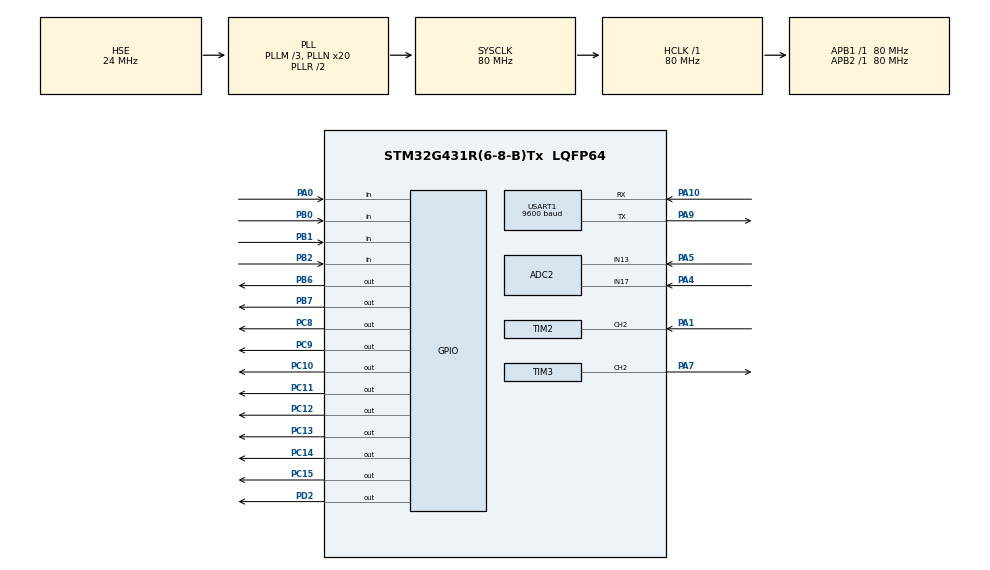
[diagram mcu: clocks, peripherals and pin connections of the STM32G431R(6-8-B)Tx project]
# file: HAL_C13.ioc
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ADC2.Channel-1\#ChannelRegularConversion=ADC_CHANNEL_17
ADC2.NbrOfConversionFlag=1
ADC2.OffsetNumber-1\#ChannelRegularConversion=ADC_OFFSET_NONE
ADC2.Rank-1\#ChannelRegularConversion=1
ADC2.SamplingTime-1\#ChannelRegularConversion=ADC_SAMPLETIME_640CYCLES_5
Dma.Request0=USART1_RX
Dma.Request1=USART1_TX
Dma.USART1_RX.0.Direction=DMA_PERIPH_TO_MEMORY
Dma.USART1_RX.0.EventEnable=DISABLE
Dma.USART1_RX.0.Instance=DMA1_Channel1
Dma.USART1_RX.0.MemDataAlignment=DMA_MDATAALIGN_BYTE
Dma.USART1_RX.0.MemInc=DMA_MINC_ENABLE
Dma.USART1_RX.0.Mode=DMA_NORMAL
Dma.USART1_RX.0.PeriphDataAlignment=DMA_PDATAALIGN_BYTE
Dma.USART1_RX.0.PeriphInc=DMA_PINC_DISABLE
Dma.USART1_RX.0.Polarity=HAL_DMAMUX_REQ_GEN_RISING
Dma.USART1_RX.0.Priority=DMA_PRIORITY_LOW
Dma.USART1_RX.0.RequestNumber=1
Dma.USART1_RX.0.SignalID=NONE
Dma.USART1_RX.0.SyncEnable=DISABLE
Dma.USART1_RX.0.SyncPolarity=HAL_DMAMUX_SYNC_NO_EVENT
Dma.USART1_RX.0.SyncRequestNumber=1
Dma.USART1_RX.0.SyncSignalID=NONE
Dma.USART1_TX.1.Direction=DMA_MEMORY_TO_PERIPH
Dma.USART1_TX.1.EventEnable=DISABLE
Dma.USART1_TX.1.Instance=DMA1_Channel2
Dma.USART1_TX.1.MemDataAlignment=DMA_MDATAALIGN_BYTE
Dma.USART1_TX.1.MemInc=DMA_MINC_ENABLE
Dma.USART1_TX.1.Mode=DMA_NORMAL
Dma.USART1_TX.1.PeriphDataAlignment=DMA_PDATAALIGN_BYTE
Dma.USART1_TX.1.PeriphInc=DMA_PINC_DISABLE
Dma.USART1_TX.1.Polarity=HAL_DMAMUX_REQ_GEN_RISING
Dma.USART1_TX.1.Priority=DMA_PRIORITY_LOW
Dma.USART1_TX.1.RequestNumber=1
Dma.USART1_TX.1.SignalID=NONE
Dma.USART1_TX.1.SyncEnable=DISABLE
Dma.USART1_TX.1.SyncPolarity=HAL_DMAMUX_SYNC_NO_EVENT
Dma.USART1_TX.1.SyncRequestNumber=1
Dma.USART1_TX.1.SyncSignalID=NONE
Mcu.Family=STM32G4
Mcu.Name=STM32G431R(6-8-B)Tx
Mcu.Package=LQFP64
NVIC.DMA1_Channel1_IRQn=true\:0\:0\:false\:false\:true\:false\:true
NVIC.DMA1_Channel2_IRQn=true\:0\:0\:false\:false\:true\:false\:true
NVIC.PriorityGroup=NVIC_PRIORITYGROUP_4
NVIC.TIM2_IRQn=true\:0\:0\:false\:false\:true\:true\:true
NVIC.USART1_IRQn=true\:0\:0\:false\:false\:true\:true\:true
PA0.Signal=GPIO_Input
PA1.Signal=S_TIM2_CH2
PA10.Mode=Asynchronous
PA10.Signal=USART1_RX
PA4.Mode=IN17-Single-Ended
PA4.Signal=ADC2_IN17
PA5.Mode=IN13-Single-Ended
PA5.Signal=ADC2_IN13
PA7.Signal=S_TIM3_CH2
PA9.Mode=Asynchronous
PA9.Signal=USART1_TX
PB0.Signal=GPIO_Input
PB1.Signal=GPIO_Input
PB2.Signal=GPIO_Input
PB6.Signal=GPIO_Output
PB7.Signal=GPIO_Output
PC10.PinState=GPIO_PIN_SET
PC10.Signal=GPIO_Output
PC11.PinState=GPIO_PIN_SET
PC11.Signal=GPIO_Output
PC12.PinState=GPIO_PIN_SET
PC12.Signal=GPIO_Output
PC13.PinState=GPIO_PIN_SET
PC13.Signal=GPIO_Output
PC14-OSC32_IN.PinState=GPIO_PIN_SET
PC14-OSC32_IN.Signal=GPIO_Output
PC15-OSC32_OUT.PinState=GPIO_PIN_SET
PC15-OSC32_OUT.Signal=GPIO_Output
PC8.PinState=GPIO_PIN_SET
PC8.Signal=GPIO_Output
PC9.PinState=GPIO_PIN_SET
PC9.Signal=GPIO_Output
PD2.PinState=GPIO_PIN_RESET
PD2.Signal=GPIO_Output
PF0-OSC_IN.Mode=HSE-External-Oscillator
PF0-OSC_IN.Signal=RCC_OSC_IN
PF1-OSC_OUT.Mode=HSE-External-Oscillator
PF1-OSC_OUT.Signal=RCC_OSC_OUT
ProjectManager.HeapSize=0x200
ProjectManager.StackSize=0x400
ProjectManager.TargetToolchain=MDK-ARM V5.27
RCC.ADC12Freq_Value=80000000
RCC.AHBFreq_Value=80000000
RCC.APB1Freq_Value=80000000
RCC.APB1TimFreq_Value=80000000
RCC.APB2Freq_Value=80000000
RCC.APB2TimFreq_Value=80000000
RCC.CortexFreq_Value=80000000
RCC.EXTERNAL_CLOCK_VALUE=12288000
RCC.HCLKFreq_Value=80000000
RCC.HSE_VALUE=24000000
RCC.HSI48_VALUE=48000000
RCC.HSI_VALUE=16000000
RCC.LSE_VALUE=32768
RCC.PLLM=RCC_PLLM_DIV3
RCC.PLLN=20
RCC.PLLSourceVirtual=RCC_PLLSOURCE_HSE
RCC.SYSCLKFreq_VALUE=80000000
RCC.SYSCLKSource=RCC_SYSCLKSOURCE_PLLCLK
RCC.USBFreq_Value=80000000
RCC.VCOOutputFreq_Value=160000000
SH.S_TIM2_CH2.0=TIM2_CH2,Input_Capture2_from_TI2
SH.S_TIM3_CH2.0=TIM3_CH2,PWM Generation2 CH2
TIM2.AutoReloadPreload=TIM_AUTORELOAD_PRELOAD_ENABLE
TIM2.Channel-Input_Capture2_from_TI2=TIM_CHANNEL_2
TIM2.PeriodNoDither=65535
TIM2.Prescaler=79
TIM3.AutoReloadPreload=TIM_AUTORELOAD_PRELOAD_ENABLE
TIM3.Channel-PWM\ Generation2\ CH2=TIM_CHANNEL_2
TIM3.PeriodNoDither=999
TIM3.Prescaler=79
TIM3.PulseNoDither_2=500
USART1.BaudRate=9600
USART1.VirtualMode-Asynchronous=VM_ASYNC
VP_SYS_VS_DBSignals.Mode=DisableDeadBatterySignals
VP_TIM2_VS_ClockSourceINT.Mode=Internal
VP_TIM3_VS_ClockSourceINT.Mode=Internal
board=custom

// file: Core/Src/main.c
/* USER CODE BEGIN Header */
/**
  ******************************************************************************
  * @file           : main.c
  * @brief          : Main program body
  ******************************************************************************
  * @attention
  *
  * <h2><center>&copy; Copyright (c) 2024 STMicroelectronics.
  * All rights reserved.</center></h2>
  *
  * This software component is licensed by ST under BSD 3-Clause license,
  * the "License"; You may not use this file except in compliance with the
  * License. You may obtain a copy of the License at:
  *                        opensource.org/licenses/BSD-3-Clause
  *
  ******************************************************************************
  */
/* USER CODE END Header */
#include "main.h"
#include "adc.h"
#include "dma.h"
#include "tim.h"
#include "usart.h"
#include "gpio.h"

/* USER CODE BEGIN Includes */
#include "i2c_hal.h"
#include "led.h"
#include "lcd.h"
#include "stdio.h"
#include <string.h>
/* USER CODE END Includes */

/* USER CODE BEGIN PTD */
typedef enum
{
	Key_Check,
	Key_Press,
	Key_Release,
	Key_Over
}Key_State;
/* USER CODE END PTD */

/* USER CODE BEGIN PD */
#define K1 HAL_GPIO_ReadPin(GPIOB, GPIO_PIN_0)
#define K2 HAL_GPIO_ReadPin(GPIOB, GPIO_PIN_1)
#define K3 HAL_GPIO_ReadPin(GPIOB, GPIO_PIN_2)
#define K4 HAL_GPIO_ReadPin(GPIOA, GPIO_PIN_0)

#define Press GPIO_PIN_RESET
#define Release GPIO_PIN_SET
/* USER CODE END PD */

/* USER CODE BEGIN PV */
uint8_t KeyNum, RX[20], Str[20], RecCount, ShowSelect, X, Y, Flag_ADC_UPDATE, Mode_Multiply_Split, Show_PA4_PA5;
uint32_t Key_Press_Time = 20, Freq_Value, Freq, Period;
Key_State KeyState = Key_Check;
float Vol_PA5, Vol_PA4, A_4, A_5, T_4, T_5, H_4, H_5, N_VOL_4[100], sum_4, sum_5;
float N_VOL_5[100];
extern DMA_HandleTypeDef hdma_usart1_rx;
uint8_t N_4, N_5, Flag_LED_3;
/* USER CODE END PV */

void SystemClock_Config(void);
/* USER CODE BEGIN PFP */
void Key_Scan(void);
void getADC_PA45(void);
void LCD_Show(void);
/* USER CODE END PFP */

/* USER CODE BEGIN 0 */
void HAL_UART_IdleCpltCallback(UART_HandleTypeDef *huart)
{
	RecCount = 10 - __HAL_DMA_GET_COUNTER(&hdma_usart1_rx);
	if(RX[0] == 'X')
	{
		sprintf((char *)Str, "X:%d\r\n", X);
		HAL_UART_Transmit_DMA(&huart1, Str, strlen((char *)Str));
	}
	else if(RX[0] == 'Y')
	{
		sprintf((char *)Str, "Y:%d\r\n", Y);
		HAL_UART_Transmit_DMA(&huart1, Str, strlen((char *)Str));
	}
	if(RX[0] == 'P' && RX[1] == 'A' && RX[2] == '1')
	{
		sprintf((char *)Str, "PA1:%d\r\n", Freq);
		HAL_UART_Transmit_DMA(&huart1, Str, strlen((char *)Str));
	}
	else if(RX[0] == 'P' && RX[1] == 'A' && RX[2] == '4')
	{
		sprintf((char *)Str, "PA4:%.2f\r\n", Vol_PA4);
		HAL_UART_Transmit_DMA(&huart1, Str, strlen((char *)Str));
	}
	else if(RX[0] == 'P' && RX[1] == 'A' && RX[2] == '5')
	{
		sprintf((char *)Str, "PA5:%.2f\r\n", Vol_PA5);
		HAL_UART_Transmit_DMA(&huart1, Str, strlen((char *)Str));
	}
	RecCount = 0;
	HAL_UART_Receive_DMA(&huart1, RX, 10);
}

void HAL_TIM_IC_CaptureCallback(TIM_HandleTypeDef *htim)
{
	Freq_Value = __HAL_TIM_GET_COUNTER(&htim2);
	__HAL_TIM_SetCounter(&htim2, 0);
	Freq = 1000000 / Freq_Value;
	HAL_TIM_IC_Start_IT(&htim2, TIM_CHANNEL_2);
}
/* USER CODE END 0 */

int main(void)
{

  /* MCU Configuration--------------------------------------------------------*/

  /* Reset of all peripherals, Initializes the Flash interface and the Systick. */
  HAL_Init();

  /* Configure the system clock */
  SystemClock_Config();

  /* Initialize all configured peripherals */
  MX_GPIO_Init();
  MX_DMA_Init();
  MX_TIM2_Init();
  MX_TIM3_Init();
  MX_USART1_UART_Init();
  MX_ADC2_Init();
  /* USER CODE BEGIN 2 */
  LED_Init();

  LCD_Init();
  LCD_Clear(Black);
  LCD_SetBackColor(Black);
  LCD_SetTextColor(White);

  HAL_UART_Receive_DMA(&huart1, RX, 10);
  __HAL_UART_ENABLE_IT(&huart1, UART_IT_IDLE);

  HAL_TIM_IC_Start_IT(&htim2, TIM_CHANNEL_2);

  HAL_TIM_PWM_Start_IT(&htim3, TIM_CHANNEL_2);

//  x24C02_Write(0x00, 0);
//  x24C02_Write(0x01, 0);
  Y = x24C02_Read(0x00);
  X = x24C02_Read(0x01);
  X = x24C02_Read(0x01);
  /* USER CODE END 2 */

  /* Infinite loop */
  /* USER CODE BEGIN WHILE */
  while (1)
  {
	  if(KeyState == Key_Over)
	  {
		  KeyState = Key_Check;
		  if(KeyNum == 1)
		  {
			  ShowSelect ++;
			  ShowSelect %= 3;
			  if(ShowSelect == 2)
			  {
				  x24C02_Write(0x00, Y);
				  x24C02_Write(0x01, X);
				  x24C02_Write(0x01, X);

				  Show_PA4_PA5 = 0;
			  }
		  }
		  else if(KeyNum == 2)
		  {
			  if(ShowSelect == 1)
			  {
				  X++;
				  if(X == 5)X = 1;
			  }
		  }
		  else if(KeyNum == 3)
		  {
			  if(ShowSelect == 1)
			  {
				  Y++;
				  if(Y == 5)Y = 1;
			  }
		  }
		  else if(KeyNum == 4)
		  {
			  if(ShowSelect == 0)
			  {
				  Flag_ADC_UPDATE = 1;
				  N_4++;
				  N_5++;
			  }
			  else if(ShowSelect == 1)
			  {
				  Mode_Multiply_Split = !Mode_Multiply_Split;
			  }
			  else
			  {
				  if(Key_Press_Time > 1000)
				  {
					  if(Show_PA4_PA5 == 0)
					  {
						  N_4 = 0;A_4 = 0;T_4 = 0;H_4 = 0;
					  }
					  else
					  {
						  N_5 = 0;A_5 = 0;T_5 = 0;H_5 = 0;
					  }
				  }
				  else
				  {
					  Show_PA4_PA5 = !Show_PA4_PA5;
				  }
			  }
		  }
		  Key_Press_Time = 0;
	  }

	  if(Mode_Multiply_Split == 0)Period = Freq_Value / X;
	  else Period = Freq_Value * X;

	  __HAL_TIM_SetAutoreload(&htim3, Period);
	  __HAL_TIM_SetCompare(&htim3, TIM_CHANNEL_2, Period / 2);
//	  __HAL_TIM_SetAutoreload(&htim3, 999);
//	  __HAL_TIM_SetCompare(&htim3, TIM_CHANNEL_2, 999 / 2);

	  if(Flag_ADC_UPDATE == 1)
	  {
		  getADC_PA45();
		  N_VOL_4[N_4 - 1] = Vol_PA4;
		  N_VOL_5[N_5 - 1] = Vol_PA5;

		  if(Vol_PA4 > A_4)A_4 = Vol_PA4;
		  if(Vol_PA5 > A_5)A_5 = Vol_PA5;

		  if(N_4 == 1)T_4 = Vol_PA4;
		  else
		  {
			  if(Vol_PA4 < T_4)T_4 = Vol_PA4;
		  }
		  if(N_5 == 1)T_5 = Vol_PA5;
		  else
		  {
			  if(Vol_PA5 < T_5)T_5 = Vol_PA5;
		  }

		  sum_4 += Vol_PA4;
          sum_5 += Vol_PA5;
          H_4 = sum_4 / N_4;
		  H_5 = sum_5 / N_5;

		  Flag_ADC_UPDATE = 0;
	  }

	  if(Mode_Multiply_Split == 0)LED_ON(1);
	  else LED_OFF(1);
	  if(Mode_Multiply_Split == 1)LED_ON(2);
	  else LED_OFF(2);
	  if(Vol_PA4 > Y * Vol_PA5)Flag_LED_3 = 1;
	  else Flag_LED_3 = 0;

	  LCD_Show();

    /* USER CODE END WHILE */

  }
}

void SystemClock_Config(void)
{
  RCC_OscInitTypeDef RCC_OscInitStruct = {0};
  RCC_ClkInitTypeDef RCC_ClkInitStruct = {0};
  RCC_PeriphCLKInitTypeDef PeriphClkInit = {0};

  /** Configure the main internal regulator output voltage
  */
  HAL_PWREx_ControlVoltageScaling(PWR_REGULATOR_VOLTAGE_SCALE1);
  /** Initializes the RCC Oscillators according to the specified parameters
  * in the RCC_OscInitTypeDef structure.
  */
  RCC_OscInitStruct.OscillatorType = RCC_OSCILLATORTYPE_HSE;
  RCC_OscInitStruct.HSEState = RCC_HSE_ON;
  RCC_OscInitStruct.PLL.PLLState = RCC_PLL_ON;
  RCC_OscInitStruct.PLL.PLLSource = RCC_PLLSOURCE_HSE;
  RCC_OscInitStruct.PLL.PLLM = RCC_PLLM_DIV3;
  RCC_OscInitStruct.PLL.PLLN = 20;
  RCC_OscInitStruct.PLL.PLLP = RCC_PLLP_DIV2;
  RCC_OscInitStruct.PLL.PLLQ = RCC_PLLQ_DIV2;
  RCC_OscInitStruct.PLL.PLLR = RCC_PLLR_DIV2;
  if (HAL_RCC_OscConfig(&RCC_OscInitStruct) != HAL_OK)
  {
    Error_Handler();
  }
  /** Initializes the CPU, AHB and APB buses clocks
  */
  RCC_ClkInitStruct.ClockType = RCC_CLOCKTYPE_HCLK|RCC_CLOCKTYPE_SYSCLK
                              |RCC_CLOCKTYPE_PCLK1|RCC_CLOCKTYPE_PCLK2;
  RCC_ClkInitStruct.SYSCLKSource = RCC_SYSCLKSOURCE_PLLCLK;
  RCC_ClkInitStruct.AHBCLKDivider = RCC_SYSCLK_DIV1;
  RCC_ClkInitStruct.APB1CLKDivider = RCC_HCLK_DIV1;
  RCC_ClkInitStruct.APB2CLKDivider = RCC_HCLK_DIV1;

  if (HAL_RCC_ClockConfig(&RCC_ClkInitStruct, FLASH_LATENCY_2) != HAL_OK)
  {
    Error_Handler();
  }
  /** Initializes the peripherals clocks
  */
  PeriphClkInit.PeriphClockSelection = RCC_PERIPHCLK_USART1|RCC_PERIPHCLK_ADC12;
  PeriphClkInit.Usart1ClockSelection = RCC_USART1CLKSOURCE_PCLK2;
  PeriphClkInit.Adc12ClockSelection = RCC_ADC12CLKSOURCE_SYSCLK;
  if (HAL_RCCEx_PeriphCLKConfig(&PeriphClkInit) != HAL_OK)
  {
    Error_Handler();
  }
}

/* USER CODE BEGIN 4 */
void LCD_Show(void)
{
	if(ShowSelect == 0)//数据
	  {
		  LCD_DisplayStringLine(Line1, (uint8_t *)"         DATA   ");
		  sprintf((char *)Str, "     PA4=%.2f", Vol_PA4);
		  LCD_DisplayStringLine(Line3, Str);
		  sprintf((char *)Str, "     PA5=%.2f", Vol_PA5);
		  LCD_DisplayStringLine(Line4, Str);
		  sprintf((char *)Str, "     PA1=%d", Freq);
		  LCD_DisplayStringLine(Line5, Str);
	      LCD_DisplayStringLine(Line6, (uint8_t *)"              ");
	  }
	  else if(ShowSelect == 1)//参数
	  {
		  LCD_DisplayStringLine(Line1, (uint8_t *)"         PARA   ");
		  sprintf((char *)Str, "     X=%d            ", X);
		  LCD_DisplayStringLine(Line3, Str);
		  sprintf((char *)Str, "     Y=%d            ", Y);
		  LCD_DisplayStringLine(Line4, Str);
		  LCD_DisplayStringLine(Line5, (uint8_t *)"              ");
		  LCD_DisplayStringLine(Line6, (uint8_t *)"              ");
	  }
	  else if(ShowSelect == 2)//记录
	  {
		  if(Show_PA4_PA5 == 0)
		  {
			  LCD_DisplayStringLine(Line1, (uint8_t *)"         REC-PA4");
			  sprintf((char *)Str, "     N=%d            ", N_4);
			  LCD_DisplayStringLine(Line3, Str);
			  sprintf((char *)Str, "     A=%.2f            ", A_4);
			  LCD_DisplayStringLine(Line4, Str);
			  sprintf((char *)Str, "     T=%.2f            ", T_4);
			  LCD_DisplayStringLine(Line5, Str);
			  sprintf((char *)Str, "     H=%.2f            ", H_4);
			  LCD_DisplayStringLine(Line6, Str);
		  }
		  else
		  {
			  LCD_DisplayStringLine(Line1, (uint8_t *)"         REC-PA5");
			  sprintf((char *)Str, "     N=%d            ", N_5);
			  LCD_DisplayStringLine(Line3, Str);
			  sprintf((char *)Str, "     A=%.2f            ", A_5);
			  LCD_DisplayStringLine(Line4, Str);
			  sprintf((char *)Str, "     T=%.2f            ", T_5);
			  LCD_DisplayStringLine(Line5, Str);
			  sprintf((char *)Str, "     H=%.2f            ", H_5);
			  LCD_DisplayStringLine(Line6, Str);
		  }
	  }
}
void getADC_PA45(void)
{
	uint16_t adc5, adc4;

	HAL_ADC_Start(&hadc2);
	HAL_ADC_PollForConversion(&hadc2, 10);
	adc5 = HAL_ADC_GetValue(&hadc2);
	HAL_ADC_Stop(&hadc2);

	HAL_ADC_Start(&hadc2);
	HAL_ADC_PollForConversion(&hadc2, 10);
	adc4 = HAL_ADC_GetValue(&hadc2);
	HAL_ADC_Stop(&hadc2);

	Vol_PA5 = adc5 * 3.3f / 4096;
	Vol_PA4 = adc4 * 3.3f / 4096;
}

void Key_Scan(void)
{
	switch (KeyState)
	{
		case Key_Check:
		{
			if(K1 == Press || K2 == Press || K3 == Press || K4 == Press)
			{
				KeyState = Key_Press;
			}
		}
		break;
		case Key_Press:
		{
			if(K1 == Press)KeyNum = 1;
			else if(K2 == Press)KeyNum = 2;
			else if(K3 == Press)KeyNum = 3;
			else if(K4 == Press)KeyNum = 4;
			KeyState = Key_Release;
		}
		break;
		case Key_Release:
		{
			if(K1 == Press || K2 == Press || K3 == Press || K4 == Press)
			{
				Key_Press_Time += 10;
			}
			else
			{
				KeyState = Key_Over;
			}
		}
		break;
		default:
		break;
	}
}
/* USER CODE END 4 */

void Error_Handler(void)
{
  __disable_irq();
  while (1)
  {
  }
}

/************************ (C) COPYRIGHT STMicroelectronics *****END OF FILE****/
